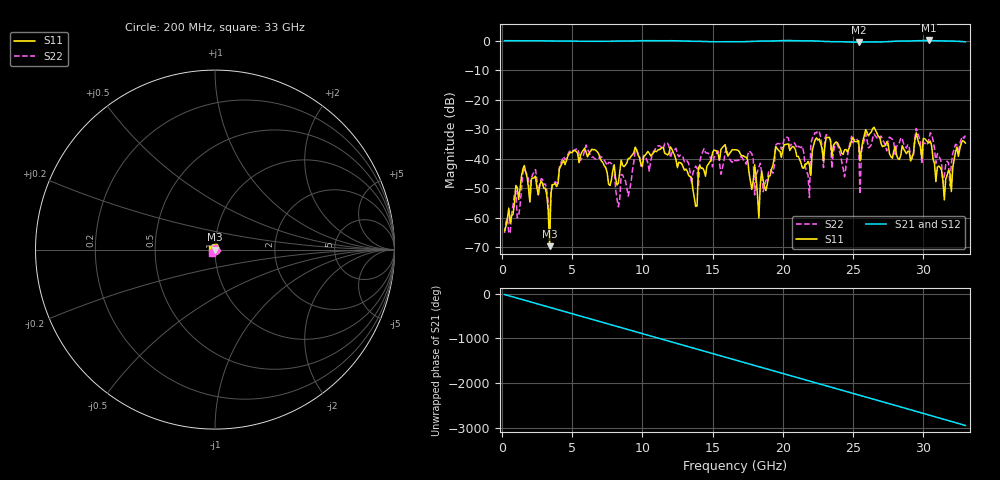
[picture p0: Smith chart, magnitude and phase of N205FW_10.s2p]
# GHZ S RI R 50
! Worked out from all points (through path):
!   329 points, 200 MHz to 33 GHz, reference 50 ohm
!   highest |S21| = 0.08 dB at 30.4 GHz (marker M1); lowest = -0.5 dB at 25.4 GHz (marker M2)
!   group delay of S21, straight-line fit = 248 ps
!   lowest |S11| = -69.7 dB at 3.4 GHz (marker M3), VSWR 1.00, Z = 50 - j0.0121 ohm
!   |S11| at or under -10 dB: start of sweep to end of sweep
!   |S22| runs from -65.3 to -29.8 dB; largest |S21 - S12| = 0.0022
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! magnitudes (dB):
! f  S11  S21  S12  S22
! 200 MHz  -64.4  0.0  0.0  -65.2
! 1.6 GHz  -42.3  0.0  0.0  -43.2
! 3.1 GHz  -50.0  -0.1  -0.1  -48.6
! 3.4 GHz  -69.7  -0.1  -0.1  -62.7
! 3.6 GHz  -48.8  -0.1  -0.1  -48.5
! 5.7 GHz  -37.8  -0.2  -0.2  -39.8
! 8.3 GHz  -48.2  -0.1  -0.1  -56.3
! 11.2 GHz  -36.9  0.0  0.0  -35.6
! 13.8 GHz  -56.2  -0.2  -0.2  -42.5
! 16.6 GHz  -37.0  -0.4  -0.4  -40.7
! 18 GHz  -42.1  -0.2  -0.2  -52.3
! 18.3 GHz  -60.2  -0.2  -0.2  -42.8
! 19.5 GHz  -35.8  -0.1  -0.1  -35.4
! 21.9 GHz  -42.1  -0.1  -0.1  -53.2
! 22.1 GHz  -37.3  -0.1  -0.1  -33.1
! 25.4 GHz  -33.9  -0.5  -0.5  -35.3
! 25.5 GHz  -40.8  -0.5  -0.5  -51.9
! 25.9 GHz  -30.2  -0.5  -0.5  -31.6
! 27.6 GHz  -38.4  -0.3  -0.3  -32.7
! 30.4 GHz  -34.7  0.1  0.1  -33.5
! 31.5 GHz  -54.0  -0.1  -0.1  -45.7
! 33 GHz  -34.7  -0.4  -0.4  -32.1
